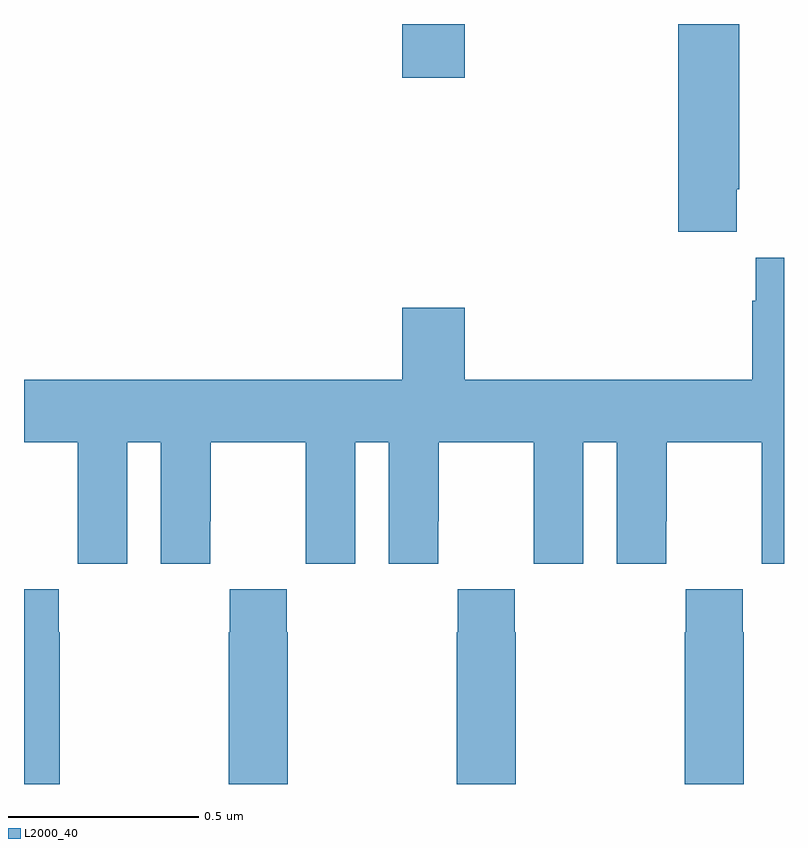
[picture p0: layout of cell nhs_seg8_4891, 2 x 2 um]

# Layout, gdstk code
import gdstk
lib = gdstk.Library(unit=1e-6, precision=1e-09)
def R(c, l, rs):  # rectangles x0, y0, x1, y1
    for r in rs: c.add(gdstk.rectangle(r[:2], r[2:], *l))
def P(c, l, *ps):  # polygons
    for p in ps: c.add(gdstk.Polygon(p, *l))
L2000_40 = (2000, 40)

nhs_seg8_4891 = lib.new_cell('nhs_seg8_4891')
R(nhs_seg8_4891, L2000_40, [(176.996,1150.758,177.16,1150.9)])
P(nhs_seg8_4891, L2000_40, [(177.875,1150.465),(177.882,1150.465),(177.882,1150.9),(177.722,1150.9),(177.722,1150.353),(177.875,1150.353)],
  [(176.272,1149.8),(176.36,1149.8),(176.36,1149.48),(176.49,1149.48),(176.49,1149.592),(176.491,1149.592),(176.491,1149.8),(176.741,1149.8),(176.741,1149.592),(176.742,1149.592),(176.742,1149.48),(176.872,1149.48),(176.872,1149.8),(176.96,1149.8),(176.96,1149.48),(177.09,1149.48),(177.09,1149.592),(177.091,1149.592),(177.091,1149.8),(177.341,1149.8),(177.341,1149.592),(177.342,1149.592),(177.342,1149.48),(177.472,1149.48),(177.472,1149.8),(177.56,1149.8),(177.56,1149.48),(177.69,1149.48),(177.69,1149.592),(177.691,1149.592),(177.691,1149.8),(177.941,1149.8),(177.941,1149.592),(177.942,1149.592),(177.942,1149.48),(178,1149.48),(178,1150.285),(177.926,1150.285),(177.926,1150.172),(177.917,1150.172),(177.917,1149.964),(177.16,1149.964),(177.16,1150.153),(176.996,1150.153),(176.996,1149.964),(176,1149.964),(176,1149.8),(176.141,1149.8),(176.141,1149.592),(176.142,1149.592),(176.142,1149.48),(176.272,1149.48)],
  [(176.694,1149.299),(176.691,1149.299),(176.691,1149.412),(176.541,1149.412),(176.541,1149.299),(176.539,1149.299),(176.539,1148.9),(176.694,1148.9)],
  [(176.094,1149.299),(176.091,1149.299),(176.091,1149.412),(176,1149.412),(176,1148.9),(176.094,1148.9)],
  [(177.894,1149.299),(177.891,1149.299),(177.891,1149.412),(177.741,1149.412),(177.741,1149.299),(177.739,1149.299),(177.739,1148.9),(177.894,1148.9)],
  [(177.141,1149.412),(177.141,1149.299),(177.139,1149.299),(177.139,1148.9),(177.294,1148.9),(177.294,1149.299),(177.291,1149.299),(177.291,1149.412)])

lib.write_gds('nhs_seg8_4891.gds')
